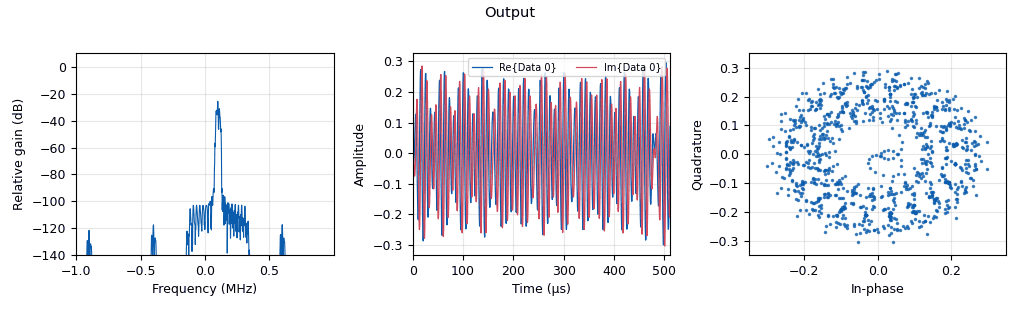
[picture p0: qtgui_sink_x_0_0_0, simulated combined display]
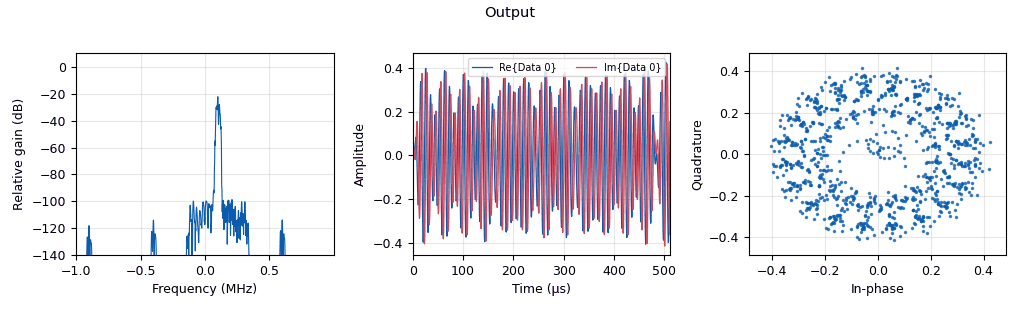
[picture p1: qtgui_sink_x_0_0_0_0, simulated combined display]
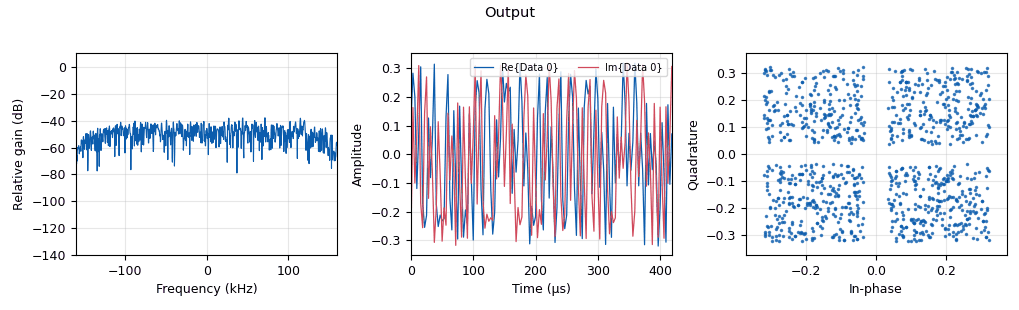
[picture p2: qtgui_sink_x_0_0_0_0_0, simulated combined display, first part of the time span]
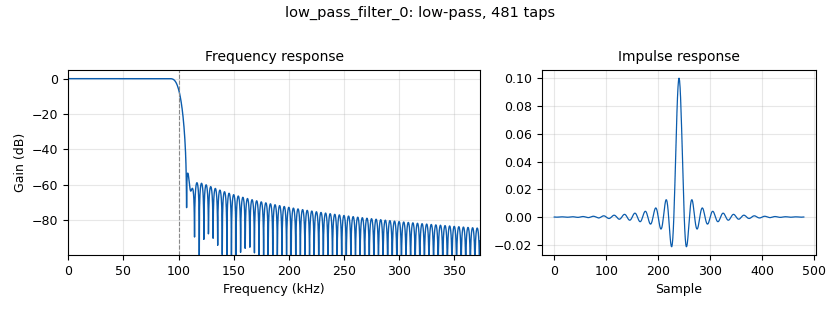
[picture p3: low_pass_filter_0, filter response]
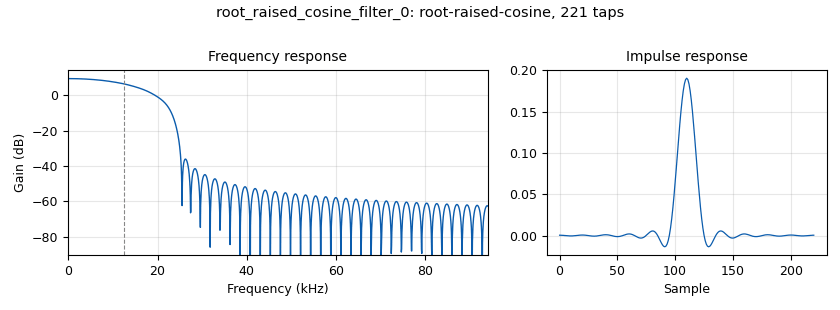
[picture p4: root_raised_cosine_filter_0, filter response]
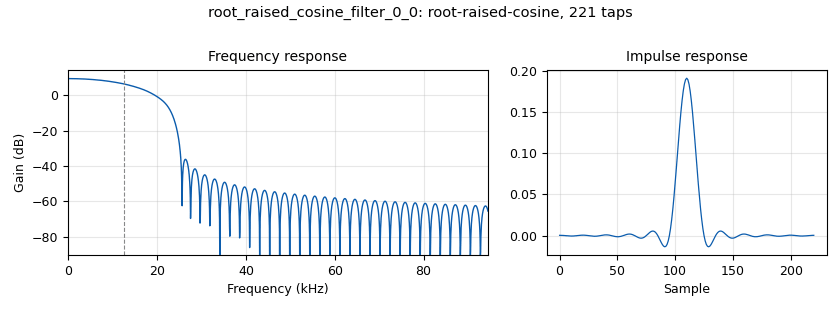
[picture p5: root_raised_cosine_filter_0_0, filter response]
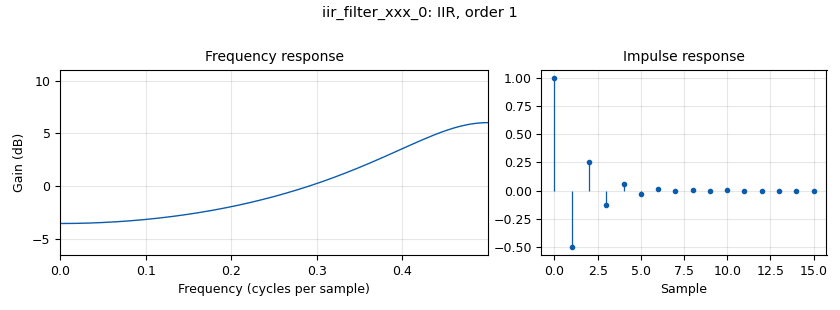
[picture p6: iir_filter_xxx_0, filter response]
options:
  parameters:
    author: abhi
    generate_options: qt_gui
    id: Lab9_1
    output_language: python
    title: Not titled yet
  states: {}

blocks:
- name: alpha
  id: variable_qtgui_range
  parameters:
    start: '0.01'
    step: '0.01'
    stop: '1'
    value: '0.99'
  states: {}
- name: const_points
  id: variable
  parameters:
    value: '4'
  states: {}
- name: samp_rate
  id: variable
  parameters:
    value: symb_rate*sps
  states: {}
- name: sps
  id: variable
  parameters:
    value: '20'
  states: {}
- name: symb_rate
  id: variable
  parameters:
    value: '25000'
  states: {}
- name: analog_random_source_x_0
  id: analog_random_source_x
  parameters:
    max: const_points
    min: '0'
    num_samps: '1000'
    repeat: 'True'
    type: int
  states: {}
- name: analog_sig_source_x_0
  id: analog_sig_source_x
  parameters:
    amp: '1'
    freq: '100000'
    offset: '0'
    phase: '0'
    samp_rate: '2000000'
    type: complex
    waveform: analog.GR_COS_WAVE
  states: {}
- name: analog_sig_source_x_0_0
  id: analog_sig_source_x
  parameters:
    amp: '1'
    freq: '100000'
    offset: '0'
    phase: '0'
    samp_rate: '2000000'
    type: float
    waveform: analog.GR_COS_WAVE
  states: {}
- name: analog_sig_source_x_0_0_0
  id: analog_sig_source_x
  parameters:
    amp: '-1'
    freq: '100000'
    offset: '0'
    phase: '0'
    samp_rate: '2000000'
    type: float
    waveform: analog.GR_SIN_WAVE
  states: {}
- name: blocks_add_xx_0
  id: blocks_add_xx
  parameters:
    type: complex
  states: {}
- name: blocks_complex_to_real_0
  id: blocks_complex_to_real
  parameters: {}
  states: {}
- name: blocks_delay_0
  id: blocks_delay
  parameters:
    delay: sps
    type: complex
  states: {}
- name: blocks_float_to_complex_0
  id: blocks_float_to_complex
  parameters: {}
  states: {}
- name: blocks_multiply_const_vxx_0
  id: blocks_multiply_const_vxx
  parameters:
    const: '0.5'
    type: complex
  states: {}
- name: blocks_multiply_xx_0
  id: blocks_multiply_xx
  parameters:
    type: complex
  states: {}
- name: blocks_multiply_xx_0_0
  id: blocks_multiply_xx
  parameters:
    type: float
  states: {}
- name: blocks_multiply_xx_0_0_0
  id: blocks_multiply_xx
  parameters:
    type: float
  states: {}
- name: digital_chunks_to_symbols_xx_0
  id: digital_chunks_to_symbols_xx
  parameters:
    dimension: '1'
    in_type: int
    out_type: complex
    symbol_table: ((1-1j), (1+1j), (-1+1j), (-1-1j))
  states: {}
- name: fir_filter_xxx_0
  id: fir_filter_xxx
  parameters:
    decim: sps
    taps: '1'
    type: ccc
  states: {}
- name: iir_filter_xxx_0
  id: iir_filter_xxx
  parameters:
    fbtaps: '[1,-0.5]'
    fftaps: '[1]'
    type: ccd
  states: {}
- name: interp_fir_filter_xxx_0
  id: interp_fir_filter_xxx
  parameters:
    interp: sps
    taps: '1'
    type: ccf
  states: {}
- name: low_pass_filter_0
  id: low_pass_filter
  parameters:
    cutoff_freq: '100000'
    decim: '1'
    gain: '1'
    samp_rate: '2000000'
    type: fir_filter_fff
    width: '10000'
    win: window.WIN_HAMMING
  states: {}
- name: low_pass_filter_0_0
  id: low_pass_filter
  parameters:
    cutoff_freq: '100000'
    decim: '1'
    gain: '1'
    samp_rate: '2000000'
    type: fir_filter_fff
    width: '10000'
    win: window.WIN_HAMMING
  states: {}
- name: qtgui_sink_x_0_0_0
  id: qtgui_sink_x
  parameters:
    bw: '2000000'
    fc: '0'
    fftsize: '1024'
    gui_hint: tab@0
    name: '"Output"'
    type: complex
  states: {}
- name: qtgui_sink_x_0_0_0_0
  id: qtgui_sink_x
  parameters:
    bw: '2000000'
    fc: '0'
    fftsize: '1024'
    gui_hint: tab@1
    name: '"Output"'
    type: complex
  states: {}
- name: qtgui_sink_x_0_0_0_0_0
  id: qtgui_sink_x
  parameters:
    bw: '320000'
    fc: '0'
    fftsize: '1024'
    gui_hint: tab@2
    name: '"Output"'
    type: complex
  states: {}
- name: rational_resampler_xxx_0
  id: rational_resampler_xxx
  parameters:
    decim: samp_rate
    interp: '2000000'
    type: ccc
  states: {}
- name: rational_resampler_xxx_0_0
  id: rational_resampler_xxx
  parameters:
    decim: '2000000'
    interp: samp_rate
    type: ccf
  states: {}
- name: root_raised_cosine_filter_0
  id: root_raised_cosine_filter
  parameters:
    alpha: alpha
    gain: '3'
    interp: '1'
    ntaps: 11*sps
    samp_rate: symb_rate*sps
    sym_rate: symb_rate
    type: interp_fir_filter_ccf
  states: {}
- name: root_raised_cosine_filter_0_0
  id: root_raised_cosine_filter
  parameters:
    alpha: '1'
    gain: '3'
    interp: '1'
    ntaps: 11*sps
    samp_rate: symb_rate*sps
    sym_rate: symb_rate
    type: interp_fir_filter_ccf
  states: {}
- name: tab
  id: qtgui_tab_widget
  parameters:
    label0: Modulated
    label1: Multi-path
    label2: Demodulated
    num_tabs: '3'
  states: {}
- name: virtual_sink_0
  id: virtual_sink
  parameters:
    stream_id: '1'
  states: {}
- name: virtual_sink_1
  id: virtual_sink
  parameters:
    stream_id: '2'
  states: {}
- name: virtual_source_0
  id: virtual_source
  parameters:
    stream_id: '1'
  states: {}
- name: virtual_source_1
  id: virtual_source
  parameters:
    stream_id: '1'
  states: {}
- name: virtual_source_2
  id: virtual_source
  parameters:
    stream_id: '2'
  states: {}
- name: virtual_source_2_0
  id: virtual_source
  parameters:
    stream_id: '2'
  states: {}

connections:
- [analog_random_source_x_0, '0', digital_chunks_to_symbols_xx_0, '0']
- [analog_sig_source_x_0, '0', blocks_multiply_xx_0, '1']
- [analog_sig_source_x_0_0, '0', blocks_multiply_xx_0_0, '1']
- [analog_sig_source_x_0_0_0, '0', blocks_multiply_xx_0_0_0, '1']
- [blocks_add_xx_0, '0', blocks_complex_to_real_0, '0']
- [blocks_add_xx_0, '0', qtgui_sink_x_0_0_0_0, '0']
- [blocks_complex_to_real_0, '0', virtual_sink_1, '0']
- [blocks_delay_0, '0', blocks_multiply_const_vxx_0, '0']
- [blocks_float_to_complex_0, '0', rational_resampler_xxx_0_0, '0']
- [blocks_multiply_const_vxx_0, '0', blocks_add_xx_0, '1']
- [blocks_multiply_xx_0, '0', qtgui_sink_x_0_0_0, '0']
- [blocks_multiply_xx_0, '0', virtual_sink_0, '0']
- [blocks_multiply_xx_0_0, '0', low_pass_filter_0, '0']
- [blocks_multiply_xx_0_0_0, '0', low_pass_filter_0_0, '0']
- [digital_chunks_to_symbols_xx_0, '0', interp_fir_filter_xxx_0, '0']
- [fir_filter_xxx_0, '0', iir_filter_xxx_0, '0']
- [iir_filter_xxx_0, '0', qtgui_sink_x_0_0_0_0_0, '0']
- [interp_fir_filter_xxx_0, '0', root_raised_cosine_filter_0, '0']
- [low_pass_filter_0, '0', blocks_float_to_complex_0, '0']
- [low_pass_filter_0_0, '0', blocks_float_to_complex_0, '1']
- [rational_resampler_xxx_0, '0', blocks_multiply_xx_0, '0']
- [rational_resampler_xxx_0_0, '0', root_raised_cosine_filter_0_0, '0']
- [root_raised_cosine_filter_0, '0', rational_resampler_xxx_0, '0']
- [root_raised_cosine_filter_0_0, '0', fir_filter_xxx_0, '0']
- [virtual_source_0, '0', blocks_add_xx_0, '0']
- [virtual_source_1, '0', blocks_delay_0, '0']
- [virtual_source_2, '0', blocks_multiply_xx_0_0, '0']
- [virtual_source_2_0, '0', blocks_multiply_xx_0_0_0, '0']

metadata:
  file_format: 1
  grc_version: 3.9.8.0-rc1
